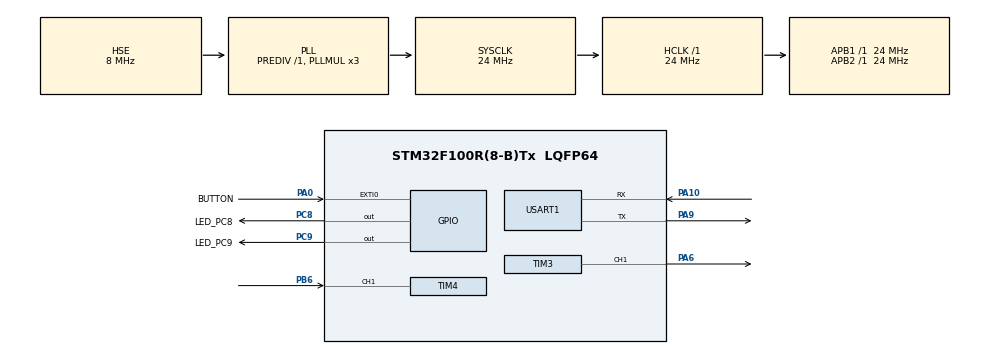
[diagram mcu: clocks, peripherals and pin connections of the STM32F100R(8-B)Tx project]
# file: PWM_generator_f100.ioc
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Mcu.Family=STM32F1
Mcu.Name=STM32F100R(8-B)Tx
Mcu.Package=LQFP64
NVIC.EXTI0_IRQn=true\:0\:0\:false\:false\:true\:true\:true
NVIC.PriorityGroup=NVIC_PRIORITYGROUP_4
NVIC.TIM4_IRQn=true\:0\:0\:false\:false\:true\:true\:true
PA0-WKUP.GPIO_Label=BUTTON
PA0-WKUP.GPIO_ModeDefaultEXTI=GPIO_MODE_IT_RISING_FALLING
PA0-WKUP.GPIO_PuPd=GPIO_NOPULL
PA0-WKUP.Signal=GPXTI0
PA10.Mode=Asynchronous
PA10.Signal=USART1_RX
PA13.Mode=Serial_Wire
PA13.Signal=SYS_JTMS-SWDIO
PA14.Mode=Serial_Wire
PA14.Signal=SYS_JTCK-SWCLK
PA6.Signal=S_TIM3_CH1
PA9.Mode=Asynchronous
PA9.Signal=USART1_TX
PB6.Signal=S_TIM4_CH1
PC8.GPIO_Label=LED_PC8
PC8.GPIO_ModeDefaultOutputPP=GPIO_MODE_OUTPUT_PP
PC8.Signal=GPIO_Output
PC9.GPIO_Label=LED_PC9
PC9.GPIO_ModeDefaultOutputPP=GPIO_MODE_OUTPUT_PP
PC9.Signal=GPIO_Output
PD0-OSC_IN.Mode=HSE-External-Oscillator
PD0-OSC_IN.Signal=RCC_OSC_IN
PD1-OSC_OUT.Mode=HSE-External-Oscillator
PD1-OSC_OUT.Signal=RCC_OSC_OUT
ProjectManager.HeapSize=0x200
ProjectManager.StackSize=0x400
ProjectManager.TargetToolchain=SW4STM32
RCC.AHBFreq_Value=24000000
RCC.APB1Freq_Value=24000000
RCC.APB1TimFreq_Value=24000000
RCC.APB2Freq_Value=24000000
RCC.APB2TimFreq_Value=24000000
RCC.HCLKFreq_Value=24000000
RCC.PLLMUL=RCC_PLL_MUL3
RCC.PLLSource=RCC_PLLSOURCE_HSE
RCC.SYSCLKFreq_VALUE=24000000
RCC.SYSCLKSource=RCC_SYSCLKSOURCE_PLLCLK
SH.S_TIM3_CH1.0=TIM3_CH1,PWM Generation1 CH1
SH.S_TIM4_CH1.0=TIM4_CH1,PWM_Input_1
TIM3.Channel-PWM\ Generation1\ CH1=TIM_CHANNEL_1
TIM3.Period=2500
TIM3.Prescaler=24-1
TIM3.Pulse-PWM\ Generation1\ CH1=1000
TIM4.Period=65000
TIM4.Prescaler=24-1
USART1.VirtualMode=VM_ASYNC
VP_TIM3_VS_ClockSourceINT.Mode=Internal
VP_TIM4_VS_ClockSourceINT.Mode=Internal
board=custom

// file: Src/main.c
/* USER CODE BEGIN Header */
/**
  ******************************************************************************
  * @file           : main.c
  * @brief          : Main program body
  ******************************************************************************
  * @attention
  *
  * <h2><center>&copy; Copyright (c) 2020 STMicroelectronics.
  * All rights reserved.</center></h2>
  *
  * This software component is licensed by ST under BSD 3-Clause license,
  * the "License"; You may not use this file except in compliance with the
  * License. You may obtain a copy of the License at:
  *                        opensource.org/licenses/BSD-3-Clause
  *
  ******************************************************************************
  */
/* USER CODE END Header */

#include "main.h"
#include "tim.h"
#include "usart.h"
#include "gpio.h"

/* USER CODE BEGIN Includes */

	//	PWM Out -> PA6
	//	Debug	UART1 PA9 115200/8-N-1
	//	Blue button for increment motor speed

	#include "stdio.h"
	#include <string.h>

/* USER CODE END Includes */

/* USER CODE BEGIN PV */

	volatile	uint8_t		button_flag		= 0;
				uint32_t	speed_u32		= 0;
				int			direction_i		= 1;
				char		DataChar[150]	= {0};
				uint32_t	capturedValue	= 0;

/* USER CODE END PV */

void SystemClock_Config(void);

int main(void)
{

  /* MCU Configuration--------------------------------------------------------*/

  /* Reset of all peripherals, Initializes the Flash interface and the Systick. */
  HAL_Init();

  /* Configure the system clock */
  SystemClock_Config();

  /* Initialize all configured peripherals */
  MX_GPIO_Init();
  MX_USART1_UART_Init();
  MX_TIM3_Init();
  MX_TIM4_Init();
  /* USER CODE BEGIN 2 */

		sprintf(DataChar,"\r\n\tPWM generator for three phase motor 2020-April-07 v1.0.0 \r\n\tUART1 for debug on speed 115200/8-N-1\r\n\r\n");
		HAL_UART_Transmit(&huart1, (uint8_t *)DataChar, strlen(DataChar), 100);
		HAL_GPIO_WritePin(LED_PC9_GPIO_Port,LED_PC9_Pin, SET);
		HAL_TIM_PWM_Start_IT(&htim3, TIM_CHANNEL_1);
		//HAL_TIM_Base_Start(&htim3);

			//HAL_TIM_IC_CaptureCallback(&htim4); ???
		  HAL_TIM_Base_Start(&htim4);

		  HAL_TIM_IC_Start_IT(&htim4, TIM_CHANNEL_1);
		  HAL_TIM_IC_Start_IT(&htim4, TIM_CHANNEL_2);
		  int TotalTime=0;
		  int PulseTime=0;

  /* USER CODE END 2 */

  /* Infinite loop */
  /* USER CODE BEGIN WHILE */
  while (1)
  {
		HAL_GPIO_TogglePin(LED_PC8_GPIO_Port,LED_PC8_Pin);
		HAL_Delay(100);

		if (button_flag == 1 ) {
			speed_u32 += 100;
			sprintf(DataChar,"\tButton pressed.\r\n");
			HAL_UART_Transmit(&huart1, (uint8_t *)DataChar, strlen(DataChar), 100);
			HAL_Delay(200);
			button_flag = 0;
		}

		if (direction_i == 1) { speed_u32 += 2; }
		else 				  { speed_u32 -= 2; }

		if (speed_u32 < 1000) {
			speed_u32 = 1000;
			direction_i = 1;
			sprintf(DataChar,"\t count UP\r\n");
			HAL_UART_Transmit(&huart1, (uint8_t *)DataChar, strlen(DataChar), 100);
			HAL_GPIO_WritePin(LED_PC9_GPIO_Port,LED_PC9_Pin, SET);
		}

		if (speed_u32 > 1600) {
			speed_u32 = 1600;
			direction_i = -1;
		  	sprintf(DataChar,"\t count Down\r\n");
		  	HAL_UART_Transmit(&huart1, (uint8_t *)DataChar, strlen(DataChar), 100);
		  	HAL_GPIO_WritePin(LED_PC9_GPIO_Port,LED_PC9_Pin, RESET);
		}

		  TotalTime = HAL_TIM_ReadCapturedValue(&htim4, TIM_CHANNEL_1);
		  PulseTime = HAL_TIM_ReadCapturedValue(&htim4, TIM_CHANNEL_2);

		//capturedValue = HAL_TIM_ReadCapturedValue( &htim4, TIM_CHANNEL_1 );

		sprintf(DataChar,"pwm: %d; TT: %d; PT: %d;\r\n", (int)speed_u32, (int)TotalTime, (int)PulseTime );
		HAL_UART_Transmit(&huart1, (uint8_t *)DataChar, strlen(DataChar), 100);

		TIM3->CCR1 = speed_u32;

    /* USER CODE END WHILE */

  }
}

void SystemClock_Config(void)
{
  RCC_OscInitTypeDef RCC_OscInitStruct = {0};
  RCC_ClkInitTypeDef RCC_ClkInitStruct = {0};

  /** Initializes the CPU, AHB and APB busses clocks
  */
  RCC_OscInitStruct.OscillatorType = RCC_OSCILLATORTYPE_HSE;
  RCC_OscInitStruct.HSEState = RCC_HSE_ON;
  RCC_OscInitStruct.HSEPredivValue = RCC_HSE_PREDIV_DIV1;
  RCC_OscInitStruct.PLL.PLLState = RCC_PLL_ON;
  RCC_OscInitStruct.PLL.PLLSource = RCC_PLLSOURCE_HSE;
  RCC_OscInitStruct.PLL.PLLMUL = RCC_PLL_MUL3;
  if (HAL_RCC_OscConfig(&RCC_OscInitStruct) != HAL_OK)
  {
    Error_Handler();
  }
  /** Initializes the CPU, AHB and APB busses clocks
  */
  RCC_ClkInitStruct.ClockType = RCC_CLOCKTYPE_HCLK|RCC_CLOCKTYPE_SYSCLK
                              |RCC_CLOCKTYPE_PCLK1|RCC_CLOCKTYPE_PCLK2;
  RCC_ClkInitStruct.SYSCLKSource = RCC_SYSCLKSOURCE_PLLCLK;
  RCC_ClkInitStruct.AHBCLKDivider = RCC_SYSCLK_DIV1;
  RCC_ClkInitStruct.APB1CLKDivider = RCC_HCLK_DIV1;
  RCC_ClkInitStruct.APB2CLKDivider = RCC_HCLK_DIV1;

  if (HAL_RCC_ClockConfig(&RCC_ClkInitStruct, FLASH_LATENCY_0) != HAL_OK)
  {
    Error_Handler();
  }
}

void Error_Handler(void)
{
}

/************************ (C) COPYRIGHT STMicroelectronics *****END OF FILE****/
